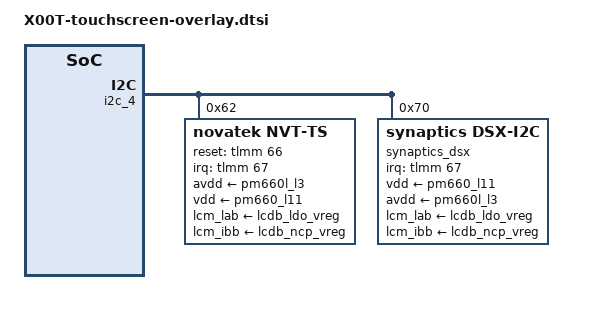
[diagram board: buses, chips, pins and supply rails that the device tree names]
/* SPDX-License-Identifier: GPL-2.0 */

&i2c_4 {
	status = "okay";

	novatek@62 {
		compatible = "novatek,NVT-ts";
		reg = <0x62>;
		status = "ok";

		avdd-supply = <&pm660l_l3>;
		vdd-supply = <&pm660_l11>;
		lcm_lab-supply = <&lcdb_ldo_vreg>;
		lcm_ibb-supply = <&lcdb_ncp_vreg>;

		novatek,reset-gpio = <&tlmm 66 0x0>;
		novatek,irq-gpio = <&tlmm 67 0x0>;
	};

	synaptics_dsx@70 {
		compatible = "synaptics,dsx-i2c";
		reg = <0x70>;
		interrupt-parent = <&tlmm>;
		vdd-supply = <&pm660_l11>;
		avdd-supply = <&pm660l_l3>;
		lcm_lab-supply = <&lcdb_ldo_vreg>;
		lcm_ibb-supply = <&lcdb_ncp_vreg>;
	
		synaptics,pwr-reg-name = "avdd";
		synaptics,bus-reg-name = "vdd";
		synaptics,ub-i2c-addr = <0x2c>;
		synaptics,irq-gpio = <&tlmm 67 0x2008>;
		synaptics,irq-on-state = <0>;
		synaptics,power-delay-ms = <200>;
		synaptics,reset-delay-ms = <200>;
		synaptics,reset-on-state = <0>;
		synaptics,reset-active-ms = <20>;

	};
};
